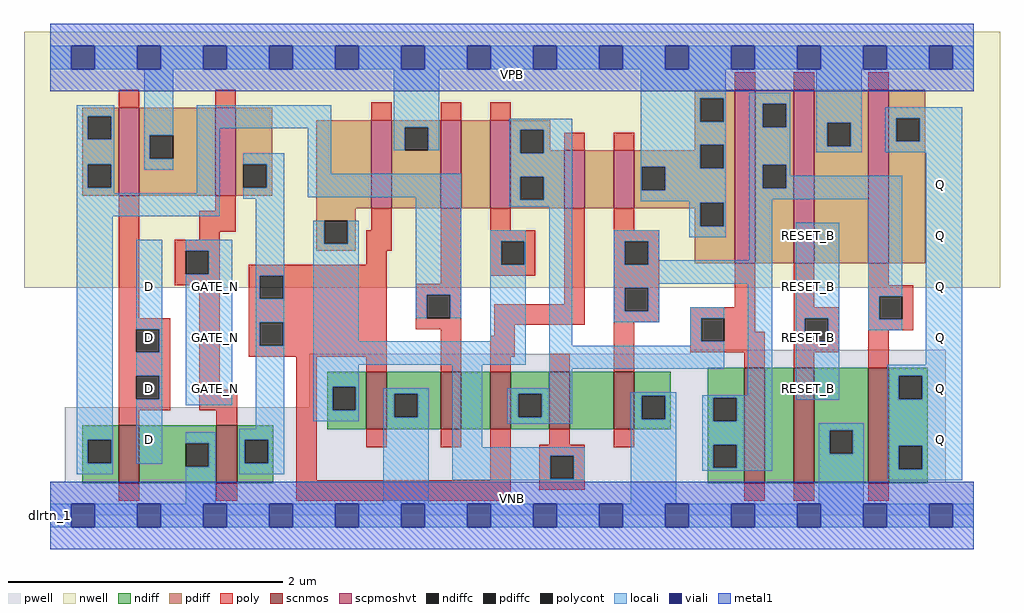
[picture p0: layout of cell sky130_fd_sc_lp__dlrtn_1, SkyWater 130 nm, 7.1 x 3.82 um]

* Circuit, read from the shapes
.subckt sky130_fd_sc_lp__dlrtn_1 D GATE_N RESET_B VGND VNB VPB VPWR Q
XM1 VGND D n1 VNB sky130_fd_pr__nfet_01v8 w=0.42 l=0.15
XM2 n2 GATE_N VGND VNB sky130_fd_pr__nfet_01v8 w=0.42 l=0.15
XM3 VGND n2 n3 VNB sky130_fd_pr__nfet_01v8 w=0.42 l=0.15
XM4 n4 n1 VGND VNB sky130_fd_pr__nfet_01v8 w=0.42 l=0.15
XM5 n5 n2 n4 VNB sky130_fd_pr__nfet_01v8 w=0.42 l=0.15
XM6 n6 n3 n5 VNB sky130_fd_pr__nfet_01v8 w=0.42 l=0.15
XM7 VGND n7 n6 VNB sky130_fd_pr__nfet_01v8 w=0.42 l=0.15
XM8 n8 n5 n7 VNB sky130_fd_pr__nfet_01v8 w=0.84 l=0.15
XM9 VGND RESET_B n8 VNB sky130_fd_pr__nfet_01v8 w=0.84 l=0.15
XM10 Q n7 VGND VNB sky130_fd_pr__nfet_01v8 w=0.84 l=0.15
XM11 VPWR D n1 VPB sky130_fd_pr__pfet_01v8_hvt w=0.64 l=0.15
XM12 n2 GATE_N VPWR VPB sky130_fd_pr__pfet_01v8_hvt w=0.64 l=0.15
XM13 VPWR n2 n3 VPB sky130_fd_pr__pfet_01v8_hvt w=0.64 l=0.15
XM14 n9 n1 VPWR VPB sky130_fd_pr__pfet_01v8_hvt w=0.64 l=0.15
XM15 n5 n3 n9 VPB sky130_fd_pr__pfet_01v8_hvt w=0.64 l=0.15
XM16 n10 n2 n5 VPB sky130_fd_pr__pfet_01v8_hvt w=0.42 l=0.15
XM17 VPWR n7 n10 VPB sky130_fd_pr__pfet_01v8_hvt w=0.42 l=0.15
XM18 n7 n5 VPWR VPB sky130_fd_pr__pfet_01v8_hvt w=1.26 l=0.15
XM19 VPWR RESET_B n7 VPB sky130_fd_pr__pfet_01v8_hvt w=1.26 l=0.15
XM20 Q n7 VPWR VPB sky130_fd_pr__pfet_01v8_hvt w=1.26 l=0.15
.ends

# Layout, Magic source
magic
tech sky130A
magscale 1 2
<< nwell >>
rect -38 331 1382 704
<< pwell >>
rect 931 235 1303 241
rect 377 157 1303 235
rect 21 49 1303 157
rect 0 0 1344 49
<< scnmos >>
rect 100 47 130 131
rect 242 47 272 131
rect 460 125 490 209
rect 568 125 598 209
rect 640 125 670 209
rect 726 125 756 209
rect 820 125 850 209
rect 1010 47 1040 215
rect 1082 47 1112 215
rect 1190 47 1220 215
<< scpmoshvt >>
rect 100 465 130 593
rect 240 465 270 593
rect 467 447 497 575
rect 568 447 598 575
rect 640 447 670 575
rect 748 447 778 531
rect 820 447 850 531
rect 996 367 1026 619
rect 1082 367 1112 619
rect 1190 367 1220 619
<< ndiff >>
rect 47 110 100 131
rect 47 76 55 110
rect 89 76 100 110
rect 47 47 100 76
rect 130 105 242 131
rect 130 71 197 105
rect 231 71 242 105
rect 130 47 242 71
rect 272 110 325 131
rect 272 76 283 110
rect 317 76 325 110
rect 272 47 325 76
rect 403 187 460 209
rect 403 153 411 187
rect 445 153 460 187
rect 403 125 460 153
rect 490 177 568 209
rect 490 143 501 177
rect 535 143 568 177
rect 490 125 568 143
rect 598 125 640 209
rect 670 177 726 209
rect 670 143 681 177
rect 715 143 726 177
rect 670 125 726 143
rect 756 125 820 209
rect 850 174 903 209
rect 850 140 861 174
rect 895 140 903 174
rect 850 125 903 140
rect 957 171 1010 215
rect 957 137 965 171
rect 999 137 1010 171
rect 957 103 1010 137
rect 957 69 965 103
rect 999 69 1010 103
rect 957 47 1010 69
rect 1040 47 1082 215
rect 1112 124 1190 215
rect 1112 90 1134 124
rect 1168 90 1190 124
rect 1112 47 1190 90
rect 1220 203 1277 215
rect 1220 169 1235 203
rect 1269 169 1277 203
rect 1220 101 1277 169
rect 1220 67 1235 101
rect 1269 67 1277 101
rect 1220 47 1277 67
<< pdiff >>
rect 938 607 996 619
rect 47 581 100 593
rect 47 547 55 581
rect 89 547 100 581
rect 47 511 100 547
rect 47 477 55 511
rect 89 477 100 511
rect 47 465 100 477
rect 130 553 240 593
rect 130 519 145 553
rect 179 519 240 553
rect 130 465 240 519
rect 270 511 323 593
rect 270 477 281 511
rect 315 477 323 511
rect 270 465 323 477
rect 387 447 467 575
rect 497 565 568 575
rect 497 531 516 565
rect 550 531 568 565
rect 497 447 568 531
rect 598 447 640 575
rect 670 561 728 575
rect 670 527 684 561
rect 718 531 728 561
rect 938 573 946 607
rect 980 573 996 607
rect 938 539 996 573
rect 938 531 946 539
rect 718 527 748 531
rect 670 493 748 527
rect 670 459 684 493
rect 718 459 748 493
rect 670 447 748 459
rect 778 447 820 531
rect 850 507 946 531
rect 850 473 861 507
rect 895 505 946 507
rect 980 505 996 539
rect 895 473 996 505
rect 850 455 996 473
rect 850 447 946 455
rect 387 429 445 447
rect 387 395 399 429
rect 433 395 445 429
rect 387 385 445 395
rect 938 421 946 447
rect 980 421 996 455
rect 938 367 996 421
rect 1026 599 1082 619
rect 1026 565 1037 599
rect 1071 565 1082 599
rect 1026 510 1082 565
rect 1026 476 1037 510
rect 1071 476 1082 510
rect 1026 367 1082 476
rect 1112 571 1190 619
rect 1112 537 1131 571
rect 1165 537 1190 571
rect 1112 367 1190 537
rect 1220 578 1273 619
rect 1220 544 1231 578
rect 1265 544 1273 578
rect 1220 367 1273 544
<< ndiffc >>
rect 55 76 89 110
rect 197 71 231 105
rect 283 76 317 110
rect 411 153 445 187
rect 501 143 535 177
rect 681 143 715 177
rect 861 140 895 174
rect 965 137 999 171
rect 965 69 999 103
rect 1134 90 1168 124
rect 1235 169 1269 203
rect 1235 67 1269 101
<< pdiffc >>
rect 55 547 89 581
rect 55 477 89 511
rect 145 519 179 553
rect 281 477 315 511
rect 516 531 550 565
rect 684 527 718 561
rect 946 573 980 607
rect 684 459 718 493
rect 861 473 895 507
rect 946 505 980 539
rect 399 395 433 429
rect 946 421 980 455
rect 1037 565 1071 599
rect 1037 476 1071 510
rect 1131 537 1165 571
rect 1231 544 1265 578
<< poly >>
rect 996 619 1026 645
rect 1082 619 1112 645
rect 1190 619 1220 645
rect 100 593 130 619
rect 240 593 270 619
rect 467 575 497 601
rect 568 575 598 601
rect 640 575 670 601
rect 100 287 130 465
rect 240 443 270 465
rect 217 413 270 443
rect 748 531 778 557
rect 820 531 850 557
rect 217 401 247 413
rect 181 385 247 401
rect 467 415 497 447
rect 460 385 497 415
rect 181 351 197 385
rect 231 351 247 385
rect 460 365 490 385
rect 181 335 247 351
rect 100 271 175 287
rect 100 237 125 271
rect 159 237 175 271
rect 100 203 175 237
rect 100 169 125 203
rect 159 169 175 203
rect 100 153 175 169
rect 217 183 247 335
rect 289 349 490 365
rect 289 315 305 349
rect 339 315 490 349
rect 568 337 598 447
rect 640 415 670 447
rect 640 399 706 415
rect 640 365 656 399
rect 690 365 706 399
rect 640 349 706 365
rect 289 281 490 315
rect 289 247 305 281
rect 339 247 490 281
rect 532 321 598 337
rect 532 287 548 321
rect 582 287 598 321
rect 748 307 778 447
rect 532 271 598 287
rect 289 231 490 247
rect 217 153 272 183
rect 100 131 130 153
rect 242 131 272 153
rect 358 51 388 231
rect 460 209 490 231
rect 568 209 598 271
rect 646 277 778 307
rect 820 415 850 447
rect 820 399 886 415
rect 820 365 836 399
rect 870 365 886 399
rect 820 331 886 365
rect 820 297 836 331
rect 870 297 886 331
rect 996 303 1026 367
rect 820 281 886 297
rect 931 287 1026 303
rect 646 261 676 277
rect 640 231 676 261
rect 640 209 670 231
rect 726 209 756 235
rect 820 209 850 281
rect 931 253 947 287
rect 981 267 1026 287
rect 1082 303 1112 367
rect 1190 335 1220 367
rect 1190 319 1256 335
rect 1082 287 1148 303
rect 981 253 1040 267
rect 931 237 1040 253
rect 1010 215 1040 237
rect 1082 253 1098 287
rect 1132 253 1148 287
rect 1082 237 1148 253
rect 1190 285 1206 319
rect 1240 285 1256 319
rect 1190 269 1256 285
rect 1082 215 1112 237
rect 1190 215 1220 269
rect 460 99 490 125
rect 568 99 598 125
rect 640 51 670 125
rect 726 103 756 125
rect 100 21 130 47
rect 242 21 272 47
rect 358 21 670 51
rect 712 87 778 103
rect 820 99 850 125
rect 712 53 728 87
rect 762 53 778 87
rect 712 37 778 53
rect 1010 21 1040 47
rect 1082 21 1112 47
rect 1190 21 1220 47
<< polycont >>
rect 197 351 231 385
rect 125 237 159 271
rect 125 169 159 203
rect 305 315 339 349
rect 656 365 690 399
rect 305 247 339 281
rect 548 287 582 321
rect 836 365 870 399
rect 836 297 870 331
rect 947 253 981 287
rect 1098 253 1132 287
rect 1206 285 1240 319
rect 728 53 762 87
<< locali >>
rect 0 649 31 683
rect 65 649 127 683
rect 161 649 223 683
rect 257 649 319 683
rect 353 649 415 683
rect 449 649 511 683
rect 545 649 607 683
rect 641 649 703 683
rect 737 649 799 683
rect 833 649 895 683
rect 929 649 991 683
rect 1025 649 1087 683
rect 1121 649 1183 683
rect 1217 649 1279 683
rect 1313 649 1344 683
rect 39 581 93 597
rect 39 547 55 581
rect 89 547 93 581
rect 39 511 93 547
rect 39 477 55 511
rect 89 477 93 511
rect 137 553 179 649
rect 137 519 145 553
rect 137 503 179 519
rect 213 563 409 597
rect 39 469 93 477
rect 213 469 247 563
rect 39 435 247 469
rect 281 511 341 527
rect 315 477 341 511
rect 281 461 341 477
rect 375 497 409 563
rect 500 565 566 649
rect 859 607 983 649
rect 500 531 516 565
rect 550 531 566 565
rect 668 561 760 577
rect 668 527 684 561
rect 718 527 760 561
rect 375 463 598 497
rect 39 110 91 435
rect 39 76 55 110
rect 89 76 91 110
rect 39 60 91 76
rect 125 271 163 401
rect 159 237 163 271
rect 125 203 163 237
rect 159 169 163 203
rect 125 75 163 169
rect 197 385 265 401
rect 231 351 265 385
rect 197 160 265 351
rect 299 349 341 461
rect 299 315 305 349
rect 339 315 341 349
rect 299 281 341 315
rect 299 247 305 281
rect 339 247 341 281
rect 299 126 341 247
rect 383 395 399 429
rect 433 395 449 429
rect 383 253 449 395
rect 532 321 598 463
rect 668 493 760 527
rect 668 459 684 493
rect 718 459 760 493
rect 668 449 760 459
rect 859 573 946 607
rect 980 573 983 607
rect 859 539 983 573
rect 859 507 946 539
rect 859 473 861 507
rect 895 505 946 507
rect 980 505 983 539
rect 895 473 983 505
rect 859 457 983 473
rect 532 287 548 321
rect 582 287 598 321
rect 640 399 692 415
rect 640 365 656 399
rect 690 365 692 399
rect 640 253 692 365
rect 383 219 692 253
rect 726 247 760 449
rect 930 455 983 457
rect 930 421 946 455
rect 980 421 983 455
rect 820 399 886 415
rect 930 405 983 421
rect 1017 599 1077 615
rect 1017 565 1037 599
rect 1071 565 1077 599
rect 1017 510 1077 565
rect 1115 571 1181 649
rect 1115 537 1131 571
rect 1165 537 1181 571
rect 1115 528 1181 537
rect 1215 578 1327 594
rect 1215 544 1231 578
rect 1265 544 1327 578
rect 1215 528 1327 544
rect 1017 476 1037 510
rect 1071 494 1077 510
rect 1071 476 1240 494
rect 1017 460 1240 476
rect 820 365 836 399
rect 870 371 886 399
rect 1017 371 1051 460
rect 870 365 1051 371
rect 820 337 1051 365
rect 820 331 886 337
rect 820 297 836 331
rect 870 297 886 331
rect 820 281 886 297
rect 931 287 981 303
rect 931 253 947 287
rect 931 247 981 253
rect 383 187 449 219
rect 383 153 411 187
rect 445 153 449 187
rect 383 137 449 153
rect 485 177 551 185
rect 485 143 501 177
rect 535 143 551 177
rect 197 105 241 121
rect 231 71 241 105
rect 197 17 241 71
rect 275 110 341 126
rect 275 76 283 110
rect 317 76 341 110
rect 275 60 341 76
rect 485 17 551 143
rect 585 99 629 219
rect 726 213 981 247
rect 726 185 760 213
rect 665 177 760 185
rect 665 143 681 177
rect 715 143 760 177
rect 665 133 760 143
rect 845 174 911 179
rect 1015 175 1051 337
rect 845 140 861 174
rect 895 140 911 174
rect 585 87 778 99
rect 585 53 728 87
rect 762 53 778 87
rect 585 51 778 53
rect 845 17 911 140
rect 949 171 1051 175
rect 949 137 965 171
rect 999 137 1051 171
rect 1085 287 1148 426
rect 1085 253 1098 287
rect 1132 253 1148 287
rect 1190 319 1240 460
rect 1190 285 1206 319
rect 1190 269 1240 285
rect 1085 168 1148 253
rect 1274 219 1327 528
rect 1218 203 1327 219
rect 1218 169 1235 203
rect 1269 169 1327 203
rect 949 103 1051 137
rect 949 69 965 103
rect 999 69 1051 103
rect 949 65 1051 69
rect 1118 124 1184 134
rect 1118 90 1134 124
rect 1168 90 1184 124
rect 1118 17 1184 90
rect 1218 101 1327 169
rect 1218 67 1235 101
rect 1269 67 1327 101
rect 1218 51 1327 67
rect 0 -17 31 17
rect 65 -17 127 17
rect 161 -17 223 17
rect 257 -17 319 17
rect 353 -17 415 17
rect 449 -17 511 17
rect 545 -17 607 17
rect 641 -17 703 17
rect 737 -17 799 17
rect 833 -17 895 17
rect 929 -17 991 17
rect 1025 -17 1087 17
rect 1121 -17 1183 17
rect 1217 -17 1279 17
rect 1313 -17 1344 17
<< viali >>
rect 31 649 65 683
rect 127 649 161 683
rect 223 649 257 683
rect 319 649 353 683
rect 415 649 449 683
rect 511 649 545 683
rect 607 649 641 683
rect 703 649 737 683
rect 799 649 833 683
rect 895 649 929 683
rect 991 649 1025 683
rect 1087 649 1121 683
rect 1183 649 1217 683
rect 1279 649 1313 683
rect 31 -17 65 17
rect 127 -17 161 17
rect 223 -17 257 17
rect 319 -17 353 17
rect 415 -17 449 17
rect 511 -17 545 17
rect 607 -17 641 17
rect 703 -17 737 17
rect 799 -17 833 17
rect 895 -17 929 17
rect 991 -17 1025 17
rect 1087 -17 1121 17
rect 1183 -17 1217 17
rect 1279 -17 1313 17
<< metal1 >>
rect 0 683 1344 715
rect 0 649 31 683
rect 65 649 127 683
rect 161 649 223 683
rect 257 649 319 683
rect 353 649 415 683
rect 449 649 511 683
rect 545 649 607 683
rect 641 649 703 683
rect 737 649 799 683
rect 833 649 895 683
rect 929 649 991 683
rect 1025 649 1087 683
rect 1121 649 1183 683
rect 1217 649 1279 683
rect 1313 649 1344 683
rect 0 617 1344 649
rect 0 17 1344 49
rect 0 -17 31 17
rect 65 -17 127 17
rect 161 -17 223 17
rect 257 -17 319 17
rect 353 -17 415 17
rect 449 -17 511 17
rect 545 -17 607 17
rect 641 -17 703 17
rect 737 -17 799 17
rect 833 -17 895 17
rect 929 -17 991 17
rect 1025 -17 1087 17
rect 1121 -17 1183 17
rect 1217 -17 1279 17
rect 1313 -17 1344 17
rect 0 -49 1344 -17
<< labels >>
flabel pwell s 0 0 1344 49 0 FreeSans 200 0 0 0 VNB
port 5 nsew ground bidirectional
flabel nwell s 0 617 1344 666 0 FreeSans 200 0 0 0 VPB
port 6 nsew power bidirectional
rlabel comment s 0 0 0 0 4 dlrtn_1
flabel metal1 s 0 617 1344 666 0 FreeSans 340 0 0 0 VPWR
port 7 nsew power bidirectional
flabel metal1 s 0 0 1344 49 0 FreeSans 340 0 0 0 VGND
port 4 nsew ground bidirectional
flabel locali s 127 94 161 128 0 FreeSans 340 0 0 0 D
port 1 nsew signal input
flabel locali s 127 168 161 202 0 FreeSans 340 0 0 0 D
port 1 nsew signal input
flabel locali s 127 242 161 276 0 FreeSans 340 0 0 0 D
port 1 nsew signal input
flabel locali s 127 316 161 350 0 FreeSans 340 0 0 0 D
port 1 nsew signal input
flabel locali s 223 168 257 202 0 FreeSans 340 0 0 0 GATE_N
port 2 nsew clock input
flabel locali s 223 242 257 276 0 FreeSans 340 0 0 0 GATE_N
port 2 nsew clock input
flabel locali s 223 316 257 350 0 FreeSans 340 0 0 0 GATE_N
port 2 nsew clock input
flabel locali s 1087 168 1121 202 0 FreeSans 340 0 0 0 RESET_B
port 3 nsew signal input
flabel locali s 1087 242 1121 276 0 FreeSans 340 0 0 0 RESET_B
port 3 nsew signal input
flabel locali s 1087 316 1121 350 0 FreeSans 340 0 0 0 RESET_B
port 3 nsew signal input
flabel locali s 1087 390 1121 424 0 FreeSans 340 0 0 0 RESET_B
port 3 nsew signal input
flabel locali s 1279 94 1313 128 0 FreeSans 340 0 0 0 Q
port 8 nsew signal output
flabel locali s 1279 168 1313 202 0 FreeSans 340 0 0 0 Q
port 8 nsew signal output
flabel locali s 1279 242 1313 276 0 FreeSans 340 0 0 0 Q
port 8 nsew signal output
flabel locali s 1279 316 1313 350 0 FreeSans 340 0 0 0 Q
port 8 nsew signal output
flabel locali s 1279 390 1313 424 0 FreeSans 340 0 0 0 Q
port 8 nsew signal output
flabel locali s 1279 464 1313 498 0 FreeSans 340 0 0 0 Q
port 8 nsew signal output
<< properties >>
string LEFsite unit
string LEFclass CORE
string FIXED_BBOX 0 0 1344 666
string GDS_FILE $PDKPATH/libs.ref/sky130_fd_sc_lp/gds/sky130_fd_sc_lp.gds
string LEFsymmetry X Y R90
string GDS_END 2712608
string GDS_START 2701360
<< end >>
